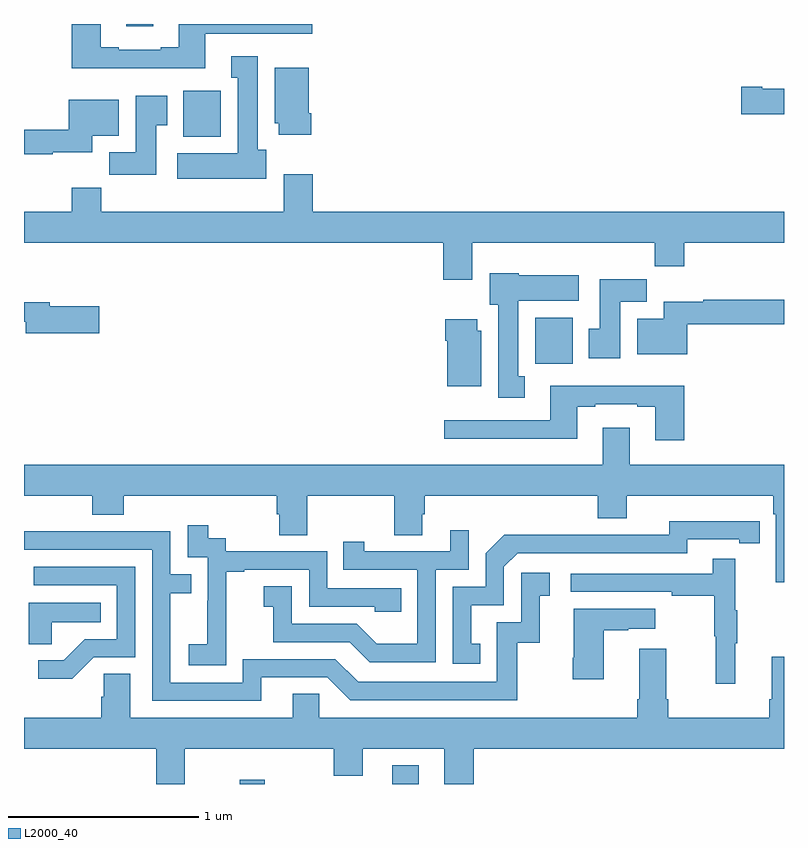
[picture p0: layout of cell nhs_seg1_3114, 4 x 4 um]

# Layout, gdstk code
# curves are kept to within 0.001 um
import gdstk
lib = gdstk.Library(unit=1e-6, precision=1e-09)
def R(c, l, rs):  # rectangles x0, y0, x1, y1
    for r in rs: c.add(gdstk.rectangle(r[:2], r[2:], *l))
def P(c, l, *ps):  # polygons
    for p in ps: c.add(gdstk.Polygon(p, *l))
L2000_40 = (2000, 40)

nhs_seg1_3114 = lib.new_cell('nhs_seg1_3114')
R(nhs_seg1_3114, L2000_40, [(280.136,566.199,280.267,566.221), (280.937,566.199,281.077,566.299), (281.69,568.412,281.887,568.654), (279.839,569.606,280.036,569.848), (279.539,570.186,279.679,570.199)])
P(nhs_seg1_3114, L2000_40, [(279.955,570.147),(280.516,570.147),(280.516,570.199),(279.815,570.199),(279.815,570.076),(279.719,570.076),(279.719,570.063),(279.499,570.063),(279.499,570.076),(279.403,570.076),(279.403,570.199),(279.251,570.199),(279.251,569.966),(279.955,569.966)],
  [(280.276,569.538),(280.231,569.538),(280.231,570.028),(280.091,570.028),(280.091,569.915),(280.124,569.915),(280.124,569.518),(279.807,569.518),(279.807,569.384),(280.276,569.384)],
  [(280.511,569.728),(280.498,569.728),(280.498,569.968),(280.319,569.968),(280.319,569.676),(280.34,569.676),(280.34,569.616),(280.511,569.616)],
  [(283,569.857),(282.886,569.857),(282.886,569.87),(282.774,569.87),(282.774,569.723),(283,569.723)],
  [(279.697,569.665),(279.754,569.665),(279.754,569.821),(279.587,569.821),(279.587,569.524),(279.448,569.524),(279.448,569.406),(279.697,569.406)],
  [(279.152,569.525),(279.358,569.525),(279.358,569.612),(279.499,569.612),(279.499,569.8),(279.236,569.8),(279.236,569.642),(279,569.642),(279,569.514),(279.152,569.514)],
  [(280.52,569.407),(280.367,569.407),(280.367,569.212),(279.407,569.212),(279.407,569.336),(279.251,569.336),(279.251,569.212),(279,569.212),(279,569.048),(281.207,569.048),(281.207,568.854),(281.359,568.854),(281.359,569.048),(282.319,569.048),(282.319,568.924),(282.476,568.924),(282.476,569.048),(283,569.048),(283,569.212),(280.52,569.212)],
  [(281.635,568.346),(281.602,568.346),(281.602,568.742),(281.92,568.742),(281.92,568.876),(281.604,568.876),(281.604,568.888),(281.45,568.888),(281.45,568.722),(281.495,568.722),(281.495,568.233),(281.635,568.233)],
  [(282.139,568.736),(282.278,568.736),(282.278,568.855),(282.029,568.855),(282.029,568.596),(281.972,568.596),(281.972,568.44),(282.139,568.44)],
  [(282.491,568.618),(283,568.618),(283,568.747),(282.574,568.747),(282.574,568.736),(282.368,568.736),(282.368,568.648),(282.227,568.648),(282.227,568.46),(282.491,568.46)],
  [(279.397,568.713),(279.136,568.713),(279.136,568.734),(279,568.734),(279,568.633),(279.008,568.633),(279.008,568.571),(279.397,568.571)],
  [(281.407,568.584),(281.386,568.584),(281.386,568.645),(281.216,568.645),(281.216,568.532),(281.228,568.532),(281.228,568.292),(281.407,568.292)],
  [(282.476,568.294),(281.771,568.294),(281.771,568.113),(281.211,568.113),(281.211,568.016),(281.911,568.016),(281.911,568.185),(282.007,568.185),(282.007,568.197),(282.227,568.197),(282.227,568.185),(282.323,568.185),(282.323,568.008),(282.476,568.008)],
  [(283,567.88),(282.187,567.88),(282.187,568.075),(282.047,568.075),(282.047,567.88),(279,567.88),(279,567.716),(279.359,567.716),(279.359,567.617),(279.524,567.617),(279.524,567.716),(280.331,567.716),(280.331,567.618),(280.343,567.618),(280.343,567.508),(280.491,567.508),(280.491,567.716),(280.948,567.716),(280.948,567.508),(281.095,567.508),(281.095,567.618),(281.108,567.618),(281.108,567.716),(282.02,567.716),(282.02,567.599),(282.172,567.599),(282.172,567.716),(282.944,567.716),(282.944,567.62),(282.957,567.62),(282.957,567.261),(283,567.261)],
  [(281.402,566.937),(281.353,566.937),(281.353,567.141),(281.526,567.141),(281.526,567.342),(281.598,567.414),(282.492,567.414),(282.492,567.486),(282.764,567.486),(282.764,567.466),(282.872,567.466),(282.872,567.582),(282.396,567.583),(282.396,567.51),(281.936,567.51),(281.936,567.512),(281.528,567.512),(281.43,567.414),(281.43,567.237),(281.256,567.237),(281.256,566.832),(281.402,566.832)],
  [(280.065,567.031),(280.064,567.031),(280.064,567.315),(280.159,567.315),(280.159,567.327),(280.5,567.327),(280.5,567.132),(280.845,567.132),(280.845,567.105),(280.985,567.105),(280.985,567.228),(280.596,567.228),(280.596,567.423),(280.062,567.423),(280.062,567.492),(279.97,567.492),(279.97,567.562),(279.861,567.562),(279.861,567.393),(279.966,567.393),(279.966,567.164),(279.965,567.164),(279.965,566.935),(279.867,566.935),(279.867,566.825),(280.065,566.825)],
  [(281.166,567.327),(281.34,567.327),(281.34,567.535),(281.243,567.535),(281.243,567.423),(280.792,567.423),(280.792,567.475),(280.681,567.475),(280.681,567.327),(281.07,567.327),(281.07,566.938),(280.856,566.938),(280.752,567.042),(280.41,567.042),(280.41,567.241),(280.263,567.241),(280.263,567.131),(280.312,567.131),(280.312,566.946),(280.715,566.946),(280.82,566.841),(281.166,566.841)],
  [(280.249,566.76),(280.596,566.76),(280.716,566.64),(281.596,566.64),(281.596,566.943),(281.714,566.943),(281.714,567.189),(281.767,567.189),(281.767,567.31),(281.616,567.31),(281.616,567.051),(281.487,567.051),(281.487,566.736),(280.758,566.736),(280.638,566.856),(280.152,566.856),(280.152,566.733),(279.771,566.733),(279.771,567.202),(279.881,567.202),(279.881,567.303),(279.771,567.303),(279.771,567.528),(279.275,567.528),(279.275,567.53),(279,567.53),(279,567.432),(279.675,567.432),(279.675,566.637),(280.249,566.637)],
  [(282.743,566.939),(282.754,566.939),(282.754,567.113),(282.743,567.113),(282.743,567.385),(282.625,567.385),(282.625,567.306),(281.877,567.306),(281.877,567.21),(282.409,567.21),(282.409,567.19),(282.633,567.19),(282.633,566.976),(282.64,566.976),(282.64,566.727),(282.743,566.727)],
  [(279.366,566.865),(279.585,566.865),(279.585,567.342),(279.051,567.342),(279.051,567.246),(279.489,567.246),(279.489,566.961),(279.32,566.961),(279.209,566.85),(279.075,566.85),(279.075,566.753),(279.253,566.753)],
  [(279.147,567.05),(279.404,567.05),(279.404,567.154),(279.026,567.154),(279.026,566.935),(279.147,566.935)],
  [(282.052,567.007),(282.179,567.007),(282.179,567.017),(282.322,567.017),(282.322,567.121),(281.894,567.121),(281.894,566.863),(281.887,566.863),(281.887,566.751),(282.052,566.751)],
  [(279.845,566.384),(280.631,566.384),(280.631,566.243),(280.783,566.243),(280.783,566.384),(281.213,566.384),(281.213,566.199),(281.366,566.199),(281.366,566.384),(283,566.384),(283,566.869),(282.935,566.869),(282.935,566.644),(282.923,566.644),(282.923,566.548),(282.392,566.548),(282.392,566.644),(282.379,566.644),(282.379,566.911),(282.239,566.911),(282.239,566.644),(282.227,566.644),(282.227,566.548),(280.554,566.548),(280.554,566.675),(280.415,566.675),(280.415,566.548),(279.559,566.548),(279.559,566.78),(279.42,566.78),(279.42,566.657),(279.407,566.657),(279.407,566.548),(279,566.548),(279,566.384),(279.695,566.384),(279.695,566.199),(279.845,566.199)])

lib.write_gds('nhs_seg1_3114.gds')
